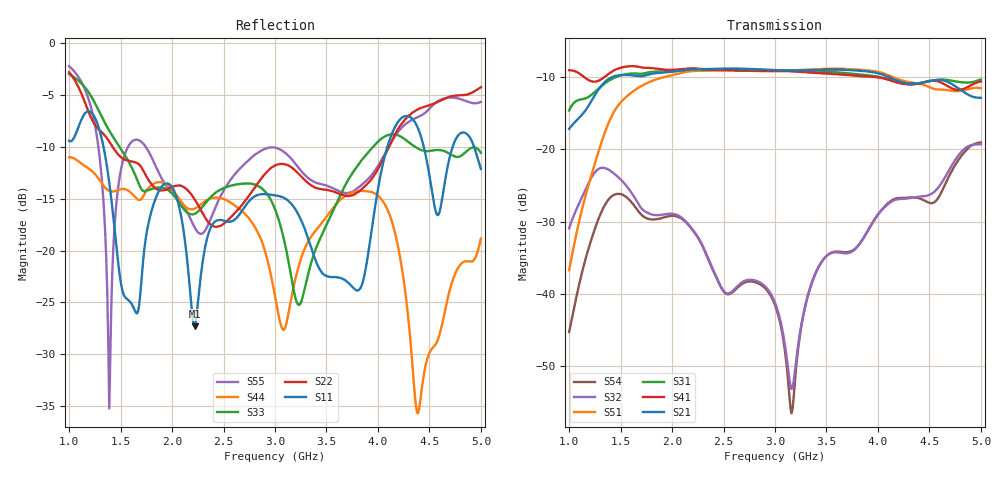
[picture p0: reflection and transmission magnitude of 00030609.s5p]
! AWR Design Environment (19377) Sat Dec 27 02:21:50 2025
! Document = 'EM_Extract_4_way'
! nPorts: 5, nXvals: 401
! Created with skrf 1.8.0 (http://scikit-rf.org).
# GHz S RI R 50.0
!freq ReS11 ImS11 ReS12 ImS12 ReS13 ImS13
! ReS14 ImS14 ReS15 ImS15
! ReS21 ImS21 ReS22 ImS22 ReS23 ImS23
! ReS24 ImS24 ReS25 ImS25
! ReS31 ImS31 ReS32 ImS32 ReS33 ImS33
! ReS34 ImS34 ReS35 ImS35
! ReS41 ImS41 ReS42 ImS42 ReS43 ImS43
! ReS44 ImS44 ReS45 ImS45
! ReS51 ImS51 ReS52 ImS52 ReS53 ImS53
! ReS54 ImS54 ReS55 ImS55
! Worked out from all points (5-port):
!   401 points, 1 GHz to 5 GHz, reference 50 ohm
!   strongest paths, dB at 1 GHz, 2 GHz, 3 GHz, 4 GHz, 5 GHz:
!     S21: -17.2, -9.3, -9.0, -9.5, -12.9
!     S41: -9.0, -9.0, -9.1, -10.0, -10.6
!     S31: -14.6, -9.2, -9.1, -9.9, -10.3
!     S51: -36.7, -9.7, -9.2, -9.3, -11.5
!     S32: -30.9, -28.9, -41.2, -29.0, -19.3
!     S54: -45.3, -29.2, -41.5, -29.0, -19.0
!   lowest |S11| = -27.3 dB at 2.22 GHz (marker M1), VSWR 1.09, Z = 54.1 - j1.82 ohm
!   |S11| at or under -10 dB: 1.334 GHz to 4.091 GHz (2.757 GHz wide, 102 % of centre); 4.446 GHz to 4.725 GHz (279.6 MHz wide, 6.1 % of centre); 4.935 GHz to end of sweep
